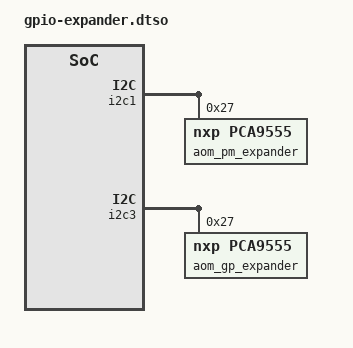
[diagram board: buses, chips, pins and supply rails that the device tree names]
/dts-v1/;
/plugin/;

&i2c1 {
    status = "okay";
    aom_pm_expander: gpio@27 {
        compatible = "nxp,pca9555";
        reg = <0x27>;
        gpio-controller;
        #gpio-cells = <2>;
    };
};

&i2c3 {
    status = "okay";
    aom_gp_expander: gpio@27 {
        compatible = "nxp,pca9555";
        reg = <0x27>;
        gpio-controller;
        #gpio-cells = <2>;
    };
};
